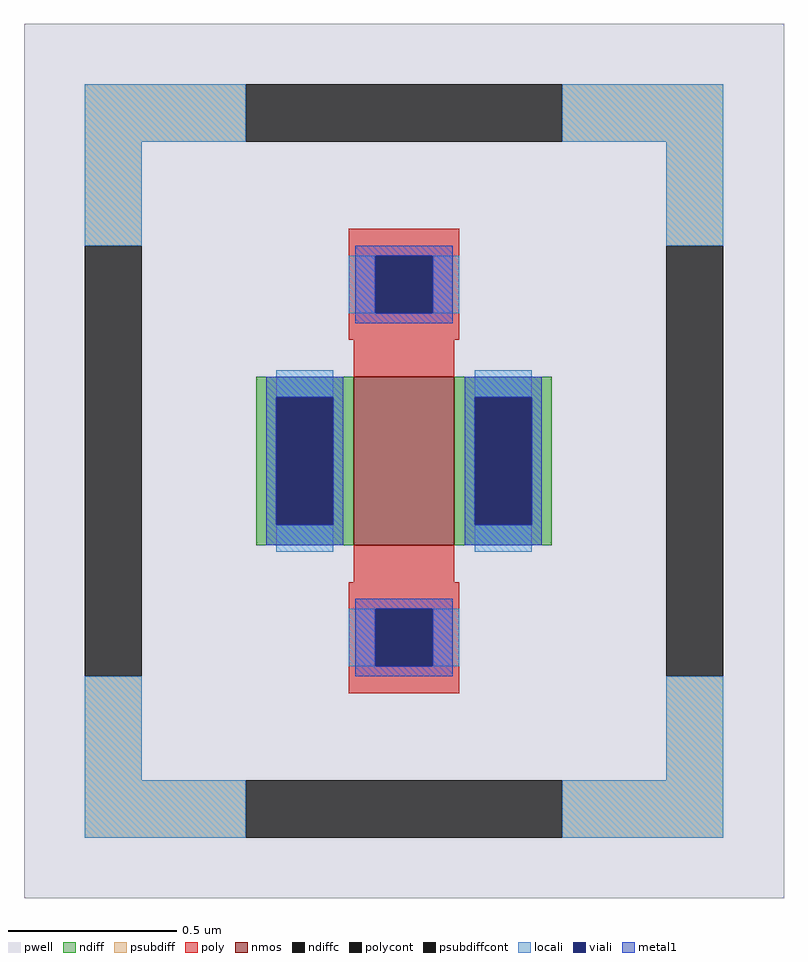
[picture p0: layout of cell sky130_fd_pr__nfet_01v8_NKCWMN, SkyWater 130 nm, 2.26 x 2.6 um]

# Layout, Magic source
magic
tech sky130A
magscale 1 2
<< pwell >>
rect -226 -260 226 260
<< nmos >>
rect -30 -50 30 50
<< ndiff >>
rect -88 38 -30 50
rect -88 -38 -76 38
rect -42 -38 -30 38
rect -88 -50 -30 -38
rect 30 38 88 50
rect 30 -38 42 38
rect 76 -38 88 38
rect 30 -50 88 -38
<< ndiffc >>
rect -76 -38 -42 38
rect 42 -38 76 38
<< psubdiff >>
rect -190 190 -94 224
rect 94 190 190 224
rect -190 128 -156 190
rect 156 128 190 190
rect -190 -190 -156 -128
rect 156 -190 190 -128
rect -190 -224 -94 -190
rect 94 -224 190 -190
<< psubdiffcont >>
rect -94 190 94 224
rect -190 -128 -156 128
rect 156 -128 190 128
rect -94 -224 94 -190
<< poly >>
rect -33 122 33 138
rect -33 88 -17 122
rect 17 88 33 122
rect -33 72 33 88
rect -30 50 30 72
rect -30 -72 30 -50
rect -33 -88 33 -72
rect -33 -122 -17 -88
rect 17 -122 33 -88
rect -33 -138 33 -122
<< polycont >>
rect -17 88 17 122
rect -17 -122 17 -88
<< locali >>
rect -190 190 -94 224
rect 94 190 190 224
rect -190 128 -156 190
rect 156 128 190 190
rect -33 88 -17 122
rect 17 88 33 122
rect -76 38 -42 54
rect -76 -54 -42 -38
rect 42 38 76 54
rect 42 -54 76 -38
rect -33 -122 -17 -88
rect 17 -122 33 -88
rect -190 -190 -156 -128
rect 156 -190 190 -128
rect -190 -224 -94 -190
rect 94 -224 190 -190
<< viali >>
rect -17 88 17 122
rect -76 -38 -42 38
rect 42 -38 76 38
rect -17 -122 17 -88
<< metal1 >>
rect -29 122 29 128
rect -29 88 -17 122
rect 17 88 29 122
rect -29 82 29 88
rect -82 38 -36 50
rect -82 -38 -76 38
rect -42 -38 -36 38
rect -82 -50 -36 -38
rect 36 38 82 50
rect 36 -38 42 38
rect 76 -38 82 38
rect 36 -50 82 -38
rect -29 -88 29 -82
rect -29 -122 -17 -88
rect 17 -122 29 -88
rect -29 -128 29 -122
<< properties >>
string FIXED_BBOX -173 -207 173 207
string gencell sky130_fd_pr__nfet_01v8
string library sky130
string parameters w 0.5 l 0.3 m 1 nf 1 diffcov 100 polycov 100 guard 1 glc 1 grc 1 gtc 1 gbc 1 tbcov 100 rlcov 100 topc 1 botc 1 poverlap 0 doverlap 0 lmin 0.15 wmin 0.42 compatible {sky130_fd_pr__nfet_01v8 sky130_fd_pr__nfet_01v8_lvt  sky130_fd_bs_flash__special_sonosfet_star  sky130_fd_pr__nfet_g5v0d10v5 sky130_fd_pr__nfet_05v0_nvt  sky130_fd_pr__nfet_03v3_nvt} full_metal 1 viasrc 100 viadrn 100 viagate 100 viagb 0 viagr 0 viagl 0 viagt 0
<< end >>
